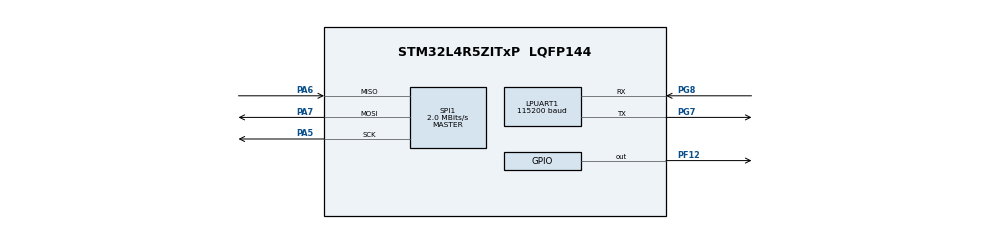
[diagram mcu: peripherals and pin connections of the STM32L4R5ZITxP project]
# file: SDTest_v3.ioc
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FATFS._MAX_SS=4096
FATFS._USE_LFN=1
LPUART1.BaudRate=115200
LPUART1.WordLength=UART_WORDLENGTH_8B
Mcu.Family=STM32L4
Mcu.Name=STM32L4R5ZITxP
Mcu.Package=LQFP144
NVIC.PriorityGroup=NVIC_PRIORITYGROUP_4
PA0.Signal=S_TIM2_CH1
PA1.Signal=ADCx_IN6
PA10.Signal=USB_OTG_FS_ID
PA13\ (JTMS/SWDIO).Signal=SYS_JTMS-SWDIO
PA14\ (JTCK/SWCLK).Signal=SYS_JTCK-SWCLK
PA3.Signal=ADCx_IN8
PA4.Signal=SPI1_NSS
PA5.GPIO_PuPd=GPIO_PULLUP
PA5.Mode=Full_Duplex_Master
PA5.Signal=SPI1_SCK
PA6.GPIO_PuPd=GPIO_PULLUP
PA6.Mode=Full_Duplex_Master
PA6.Signal=SPI1_MISO
PA7.GPIO_PuPd=GPIO_PULLUP
PA7.Mode=Full_Duplex_Master
PA7.Signal=SPI1_MOSI
PA8.Signal=USB_OTG_FS_SOF
PA9.Signal=USB_OTG_FS_VBUS
PB0.Signal=S_TIM3_CH3
PB1.Signal=ADCx_IN16
PB10.Signal=S_TIM2_CH3
PB12.Signal=SAI2_FS_A
PB13.Signal=SAI2_SCK_A
PB14.Signal=S_TIM15_CH1
PB15.Signal=SAI2_SD_A
PB2.Signal=COMP1_INP
PB3\ (JTDO/TRACESWO).Signal=SPI3_SCK
PB4\ (NJTRST).Signal=SPI3_MISO
PB5.Signal=SPI3_MOSI
PB6.Signal=COMP2_INP
PB8.Signal=I2C1_SCL
PB9.Signal=I2C1_SDA
PC0.Signal=ADCx_IN1
PC1.Signal=ADCx_IN2
PC10.Signal=SDMMC1_D2
PC11.Signal=SDMMC1_D3
PC12.Signal=SDMMC1_CK
PC13.Signal=SYS_WKUP2
PC14-OSC32_IN\ (PC14).Signal=RCC_OSC32_IN
PC15-OSC32_OUT\ (PC15).Signal=RCC_OSC32_OUT
PC2.Signal=ADCx_IN3
PC3.Signal=ADCx_IN4
PC4.Signal=ADCx_IN13
PC5.Signal=ADCx_IN14
PC6.Signal=SAI2_MCLK_A
PC7.Signal=S_TIM3_CH2
PC8.Signal=SDMMC1_D0
PC9.Signal=SDMMC1_D1
PD0.Signal=CAN1_RX
PD14.Signal=S_TIM4_CH3
PD15.Signal=S_TIM4_CH4
PD2.Signal=SDMMC1_CMD
PD3.Signal=USART2_CTS
PD4.Signal=USART2_RTS
PD5.Signal=USART2_TX
PD6.Signal=USART2_RX
PD8.Signal=USART3_TX
PD9.Signal=USART3_RX
PE0.Signal=S_TIM4_ETR
PE10.Signal=TIM1_CH2N
PE11.Signal=S_TIM1_CH2
PE12.Signal=TIM1_CH3N
PE13.Signal=S_TIM1_CH3
PE14.Signal=TIM1_BKIN2
PE15.Signal=TIM1_BKIN
PE2.Signal=SAI1_MCLK_A
PE3.Signal=SAI1_SD_B
PE7.Signal=S_TIM1_ETR
PE8.Signal=TIM1_CH1N
PE9.Signal=S_TIM1_CH1
PF0.Signal=I2C2_SDA
PF1.Signal=I2C2_SCL
PF12.GPIO_Speed=GPIO_SPEED_FREQ_MEDIUM
PF12.PinState=GPIO_PIN_SET
PF12.Signal=GPIO_Output
PF2.Signal=I2C2_SMBA
PF7.Signal=SAI1_MCLK_B
PG7.Mode=Asynchronous
PG7.Signal=LPUART1_TX
PG8.Mode=Asynchronous
PG8.Signal=LPUART1_RX
PH0-OSC_IN\ (PH0).Signal=RCC_OSC_IN
PH1-OSC_OUT\ (PH1).Signal=RCC_OSC_OUT
ProjectManager.HeapSize=0x200
ProjectManager.StackSize=0x400
ProjectManager.TargetToolchain=STM32CubeIDE
RCC.HSE_VALUE=8000000
RCC.HSI48_VALUE=48000000
RCC.HSI_VALUE=16000000
RCC.LSE_VALUE=32768
RCC.MSI_VALUE=4000000
RCC.VCOOutputFreq_Value=32000000
SH.ADCx_IN1.0=ADC1_IN1
SH.ADCx_IN13.0=ADC1_IN13
SH.ADCx_IN14.0=ADC1_IN14
SH.ADCx_IN16.0=ADC1_IN16
SH.ADCx_IN2.0=ADC1_IN2
SH.ADCx_IN3.0=ADC1_IN3
SH.ADCx_IN4.0=ADC1_IN4
SH.ADCx_IN6.0=ADC1_IN6
SH.ADCx_IN8.0=ADC1_IN8
SH.S_TIM15_CH1.0=TIM15_CH1
SH.S_TIM1_CH1.0=TIM1_CH1
SH.S_TIM1_CH2.0=TIM1_CH2
SH.S_TIM1_CH3.0=TIM1_CH3
SH.S_TIM1_ETR.0=TIM1_ETR
SH.S_TIM2_CH1.0=TIM2_CH1
SH.S_TIM2_CH3.0=TIM2_CH3
SH.S_TIM3_CH2.0=TIM3_CH2
SH.S_TIM3_CH3.0=TIM3_CH3
SH.S_TIM4_CH3.0=TIM4_CH3
SH.S_TIM4_CH4.0=TIM4_CH4
SH.S_TIM4_ETR.0=TIM4_ETR
SPI1.BaudRatePrescaler=SPI_BAUDRATEPRESCALER_2
SPI1.CalculateBaudRate=2.0 MBits/s
SPI1.DataSize=SPI_DATASIZE_8BIT
SPI1.Direction=SPI_DIRECTION_2LINES
SPI1.Mode=SPI_MODE_MASTER
SPI1.VirtualType=VM_MASTER
VP_FATFS_VS_Generic.Mode=User_defined
board=NUCLEO-L4R5ZI-P

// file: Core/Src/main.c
/* USER CODE BEGIN Header */
/**
  ******************************************************************************
  * @file           : main.c
  * @brief          : Main program body
  ******************************************************************************
  * @attention
  *
  * Copyright (c) 2023 STMicroelectronics.
  * All rights reserved.
  *
  * This software is licensed under terms that can be found in the LICENSE file
  * in the root directory of this software component.
  * If no LICENSE file comes with this software, it is provided AS-IS.
  *
  ******************************************************************************
  */
/* USER CODE END Header */
#include "main.h"
#include "fatfs.h"

/* USER CODE BEGIN Includes */
#include "fatfs_sd.h"
#include "string.h"
#include "stdio.h"
/* USER CODE END Includes */

/* USER CODE BEGIN PD */
SPI_HandleTypeDef hspi1;
FATFS fs;
FATFS *pfs;
FIL fil;
FRESULT fres;
DWORD fre_clust;
uint32_t totalSpace, freeSpace;
char buffer[100];
/* USER CODE END PD */

UART_HandleTypeDef hlpuart1;

SPI_HandleTypeDef hspi1;

void SystemClock_Config(void);
static void MX_GPIO_Init(void);
static void MX_LPUART1_UART_Init(void);
static void MX_SPI1_Init(void);

int main(void) //WORKING!!!!!
{

  /* MCU Configuration--------------------------------------------------------*/

  /* Reset of all peripherals, Initializes the Flash interface and the Systick. */
  HAL_Init();

  /* Configure the system clock */
  SystemClock_Config();

  /* Initialize all configured peripherals */
  MX_GPIO_Init();
  MX_LPUART1_UART_Init();
  MX_SPI1_Init();
  MX_FATFS_Init();
	/* USER CODE BEGIN 2 */
	/* Waiting for the Micro SD module to initialize */
	HAL_Delay(500);

	fres = f_mount(&fs, "", 1);
	if (fres == FR_OK) {
		printf("Micro SD card is mounted successfully!\n");
	} else if (fres != FR_OK) {
		printf("Micro SD card's mount error!\n");
	}

	// FA_OPEN_APPEND opens file if it exists and if not then creates it,
	// the pointer is set at the end of the file for appending
	fres = f_open(&fil, "log-file.txt", FA_OPEN_APPEND | FA_WRITE | FA_READ);
	if (fres == FR_OK) {
		printf("File opened for reading and checking the free space.\n");
	} else if (fres != FR_OK) {
		printf(
				"File was not opened for reading and checking the free space!\n");
	}

	fres = f_getfree("", &fre_clust, &pfs);
	totalSpace = (uint32_t) ((pfs->n_fatent - 2) * pfs->csize * 0.5);
	freeSpace = (uint32_t) (fre_clust * pfs->csize * 0.5);
	char mSz[12];
	sprintf(mSz, "%lu", freeSpace);
	if (fres == FR_OK) {
		printf("The free space is: ");
		printf(mSz);
		printf("\n");
	} else if (fres != FR_OK) {
		printf("The free space could not be determined!\n");
	}
	printf("writing to file\n");
	for (uint8_t i = 0; i < 10; i++) {
		f_puts("This text is written in the file.\n", &fil);
	}

	fres = f_close(&fil);
	if (fres == FR_OK) {
		printf("The file is closed.\n");
	} else if (fres != FR_OK) {
		printf("The file was not closed.\n");
	}

	/* Open file to read */
	fres = f_open(&fil, "log-file.txt", FA_READ);
	if (fres == FR_OK) {
		printf("File opened for reading.\n");
	} else if (fres != FR_OK) {
		printf("File was not opened for reading!\n");
	}

	while (f_gets(buffer, sizeof(buffer), &fil)) {
		char mRd[100];
		sprintf(mRd, "%s", buffer);
		printf(mRd);

	}

	/* Close file */
	fres = f_close(&fil);
	if (fres == FR_OK) {
		printf("The file is closed.\n");
	} else if (fres != FR_OK) {
		printf("The file was not closed.\n");
	}
	/*
	 f_mount(NULL, "", 1);
	 if (fres == FR_OK) {
	 printf("The Micro SD card is unmounted!\n");
	 } else if (fres != FR_OK) {
	 printf("The Micro SD was not unmounted!");
	 }*/
	//begin ben tests

	fres = f_open(&fil, "BEN-file.txt", FA_OPEN_APPEND | FA_WRITE | FA_READ);
	if (fres == FR_OK) {
		printf("File opened for reading and checking the free space.\n");
	} else if (fres != FR_OK) {
		printf(
				"File was not opened for reading and checking the free space!\n");
	}

	printf("writing to file\n");
	for (uint8_t i = 0; i < 10; i++) {
		f_puts("This text is written in the file.\n", &fil);
	}

	f_mount(NULL, "", 1);
	if (fres == FR_OK) {
		printf("The Micro SD card is unmounted!\n");
	} else if (fres != FR_OK) {
		printf("The Micro SD was not unmounted!");
	}

   /* USER CODE END 2 */

  /* Infinite loop */
  while (1)
  {

  }
}

void SystemClock_Config(void)
{
  RCC_OscInitTypeDef RCC_OscInitStruct = {0};
  RCC_ClkInitTypeDef RCC_ClkInitStruct = {0};

  /** Configure the main internal regulator output voltage
  */
  if (HAL_PWREx_ControlVoltageScaling(PWR_REGULATOR_VOLTAGE_SCALE1) != HAL_OK)
  {
    Error_Handler();
  }

  /** Initializes the RCC Oscillators according to the specified parameters
  * in the RCC_OscInitTypeDef structure.
  */
  RCC_OscInitStruct.OscillatorType = RCC_OSCILLATORTYPE_MSI;
  RCC_OscInitStruct.MSIState = RCC_MSI_ON;
  RCC_OscInitStruct.MSICalibrationValue = 0;
  RCC_OscInitStruct.MSIClockRange = RCC_MSIRANGE_6;
  RCC_OscInitStruct.PLL.PLLState = RCC_PLL_NONE;
  if (HAL_RCC_OscConfig(&RCC_OscInitStruct) != HAL_OK)
  {
    Error_Handler();
  }

  /** Initializes the CPU, AHB and APB buses clocks
  */
  RCC_ClkInitStruct.ClockType = RCC_CLOCKTYPE_HCLK|RCC_CLOCKTYPE_SYSCLK
                              |RCC_CLOCKTYPE_PCLK1|RCC_CLOCKTYPE_PCLK2;
  RCC_ClkInitStruct.SYSCLKSource = RCC_SYSCLKSOURCE_MSI;
  RCC_ClkInitStruct.AHBCLKDivider = RCC_SYSCLK_DIV1;
  RCC_ClkInitStruct.APB1CLKDivider = RCC_HCLK_DIV1;
  RCC_ClkInitStruct.APB2CLKDivider = RCC_HCLK_DIV1;

  if (HAL_RCC_ClockConfig(&RCC_ClkInitStruct, FLASH_LATENCY_0) != HAL_OK)
  {
    Error_Handler();
  }
}

static void MX_LPUART1_UART_Init(void)
{

  hlpuart1.Instance = LPUART1;
  hlpuart1.Init.BaudRate = 115200;
  hlpuart1.Init.WordLength = UART_WORDLENGTH_8B;
  hlpuart1.Init.StopBits = UART_STOPBITS_1;
  hlpuart1.Init.Parity = UART_PARITY_NONE;
  hlpuart1.Init.Mode = UART_MODE_TX_RX;
  hlpuart1.Init.HwFlowCtl = UART_HWCONTROL_NONE;
  hlpuart1.Init.OneBitSampling = UART_ONE_BIT_SAMPLE_DISABLE;
  hlpuart1.Init.ClockPrescaler = UART_PRESCALER_DIV1;
  hlpuart1.AdvancedInit.AdvFeatureInit = UART_ADVFEATURE_NO_INIT;
  hlpuart1.FifoMode = UART_FIFOMODE_DISABLE;
  if (HAL_UART_Init(&hlpuart1) != HAL_OK)
  {
    Error_Handler();
  }
  if (HAL_UARTEx_SetTxFifoThreshold(&hlpuart1, UART_TXFIFO_THRESHOLD_1_8) != HAL_OK)
  {
    Error_Handler();
  }
  if (HAL_UARTEx_SetRxFifoThreshold(&hlpuart1, UART_RXFIFO_THRESHOLD_1_8) != HAL_OK)
  {
    Error_Handler();
  }
  if (HAL_UARTEx_DisableFifoMode(&hlpuart1) != HAL_OK)
  {
    Error_Handler();
  }

}

static void MX_SPI1_Init(void)
{

  /* SPI1 parameter configuration*/
  hspi1.Instance = SPI1;
  hspi1.Init.Mode = SPI_MODE_MASTER;
  hspi1.Init.Direction = SPI_DIRECTION_2LINES;
  hspi1.Init.DataSize = SPI_DATASIZE_8BIT;
  hspi1.Init.CLKPolarity = SPI_POLARITY_LOW;
  hspi1.Init.CLKPhase = SPI_PHASE_1EDGE;
  hspi1.Init.NSS = SPI_NSS_SOFT;
  hspi1.Init.BaudRatePrescaler = SPI_BAUDRATEPRESCALER_2;
  hspi1.Init.FirstBit = SPI_FIRSTBIT_MSB;
  hspi1.Init.TIMode = SPI_TIMODE_DISABLE;
  hspi1.Init.CRCCalculation = SPI_CRCCALCULATION_DISABLE;
  hspi1.Init.CRCPolynomial = 7;
  hspi1.Init.CRCLength = SPI_CRC_LENGTH_DATASIZE;
  hspi1.Init.NSSPMode = SPI_NSS_PULSE_ENABLE;
  if (HAL_SPI_Init(&hspi1) != HAL_OK)
  {
    Error_Handler();
  }

}

static void MX_GPIO_Init(void)
{
  GPIO_InitTypeDef GPIO_InitStruct = {0};

  /* GPIO Ports Clock Enable */
  __HAL_RCC_GPIOE_CLK_ENABLE();
  __HAL_RCC_GPIOC_CLK_ENABLE();
  __HAL_RCC_GPIOF_CLK_ENABLE();
  __HAL_RCC_GPIOH_CLK_ENABLE();
  __HAL_RCC_GPIOA_CLK_ENABLE();
  __HAL_RCC_GPIOB_CLK_ENABLE();
  __HAL_RCC_GPIOD_CLK_ENABLE();
  __HAL_RCC_GPIOG_CLK_ENABLE();
  HAL_PWREx_EnableVddIO2();

  /*Configure GPIO pin Output Level */
  HAL_GPIO_WritePin(GPIOF, GPIO_PIN_12, GPIO_PIN_SET);

  /*Configure GPIO pins : PE2 PE3 */
  GPIO_InitStruct.Pin = GPIO_PIN_2|GPIO_PIN_3;
  GPIO_InitStruct.Mode = GPIO_MODE_AF_PP;
  GPIO_InitStruct.Pull = GPIO_NOPULL;
  GPIO_InitStruct.Speed = GPIO_SPEED_FREQ_LOW;
  GPIO_InitStruct.Alternate = GPIO_AF13_SAI1;
  HAL_GPIO_Init(GPIOE, &GPIO_InitStruct);

  /*Configure GPIO pins : PF0 PF1 PF2 */
  GPIO_InitStruct.Pin = GPIO_PIN_0|GPIO_PIN_1|GPIO_PIN_2;
  GPIO_InitStruct.Mode = GPIO_MODE_AF_OD;
  GPIO_InitStruct.Pull = GPIO_NOPULL;
  GPIO_InitStruct.Speed = GPIO_SPEED_FREQ_VERY_HIGH;
  GPIO_InitStruct.Alternate = GPIO_AF4_I2C2;
  HAL_GPIO_Init(GPIOF, &GPIO_InitStruct);

  /*Configure GPIO pin : PF7 */
  GPIO_InitStruct.Pin = GPIO_PIN_7;
  GPIO_InitStruct.Mode = GPIO_MODE_AF_PP;
  GPIO_InitStruct.Pull = GPIO_NOPULL;
  GPIO_InitStruct.Speed = GPIO_SPEED_FREQ_LOW;
  GPIO_InitStruct.Alternate = GPIO_AF13_SAI1;
  HAL_GPIO_Init(GPIOF, &GPIO_InitStruct);

  /*Configure GPIO pins : PC0 PC1 PC2 PC3
                           PC4 PC5 */
  GPIO_InitStruct.Pin = GPIO_PIN_0|GPIO_PIN_1|GPIO_PIN_2|GPIO_PIN_3
                          |GPIO_PIN_4|GPIO_PIN_5;
  GPIO_InitStruct.Mode = GPIO_MODE_ANALOG_ADC_CONTROL;
  GPIO_InitStruct.Pull = GPIO_NOPULL;
  HAL_GPIO_Init(GPIOC, &GPIO_InitStruct);

  /*Configure GPIO pin : PA0 */
  GPIO_InitStruct.Pin = GPIO_PIN_0;
  GPIO_InitStruct.Mode = GPIO_MODE_AF_PP;
  GPIO_InitStruct.Pull = GPIO_NOPULL;
  GPIO_InitStruct.Speed = GPIO_SPEED_FREQ_LOW;
  GPIO_InitStruct.Alternate = GPIO_AF1_TIM2;
  HAL_GPIO_Init(GPIOA, &GPIO_InitStruct);

  /*Configure GPIO pins : PA1 PA3 */
  GPIO_InitStruct.Pin = GPIO_PIN_1|GPIO_PIN_3;
  GPIO_InitStruct.Mode = GPIO_MODE_ANALOG_ADC_CONTROL;
  GPIO_InitStruct.Pull = GPIO_NOPULL;
  HAL_GPIO_Init(GPIOA, &GPIO_InitStruct);

  /*Configure GPIO pin : PB0 */
  GPIO_InitStruct.Pin = GPIO_PIN_0;
  GPIO_InitStruct.Mode = GPIO_MODE_AF_PP;
  GPIO_InitStruct.Pull = GPIO_NOPULL;
  GPIO_InitStruct.Speed = GPIO_SPEED_FREQ_LOW;
  GPIO_InitStruct.Alternate = GPIO_AF2_TIM3;
  HAL_GPIO_Init(GPIOB, &GPIO_InitStruct);

  /*Configure GPIO pin : PB1 */
  GPIO_InitStruct.Pin = GPIO_PIN_1;
  GPIO_InitStruct.Mode = GPIO_MODE_ANALOG_ADC_CONTROL;
  GPIO_InitStruct.Pull = GPIO_NOPULL;
  HAL_GPIO_Init(GPIOB, &GPIO_InitStruct);

  /*Configure GPIO pins : PB2 PB6 */
  GPIO_InitStruct.Pin = GPIO_PIN_2|GPIO_PIN_6;
  GPIO_InitStruct.Mode = GPIO_MODE_ANALOG;
  GPIO_InitStruct.Pull = GPIO_NOPULL;
  HAL_GPIO_Init(GPIOB, &GPIO_InitStruct);

  /*Configure GPIO pin : PF12 */
  GPIO_InitStruct.Pin = GPIO_PIN_12;
  GPIO_InitStruct.Mode = GPIO_MODE_OUTPUT_PP;
  GPIO_InitStruct.Pull = GPIO_NOPULL;
  GPIO_InitStruct.Speed = GPIO_SPEED_FREQ_MEDIUM;
  HAL_GPIO_Init(GPIOF, &GPIO_InitStruct);

  /*Configure GPIO pins : PE7 PE8 PE9 PE10
                           PE11 PE12 PE13 */
  GPIO_InitStruct.Pin = GPIO_PIN_7|GPIO_PIN_8|GPIO_PIN_9|GPIO_PIN_10
                          |GPIO_PIN_11|GPIO_PIN_12|GPIO_PIN_13;
  GPIO_InitStruct.Mode = GPIO_MODE_AF_PP;
  GPIO_InitStruct.Pull = GPIO_NOPULL;
  GPIO_InitStruct.Speed = GPIO_SPEED_FREQ_LOW;
  GPIO_InitStruct.Alternate = GPIO_AF1_TIM1;
  HAL_GPIO_Init(GPIOE, &GPIO_InitStruct);

  /*Configure GPIO pins : PE14 PE15 */
  GPIO_InitStruct.Pin = GPIO_PIN_14|GPIO_PIN_15;
  GPIO_InitStruct.Mode = GPIO_MODE_AF_PP;
  GPIO_InitStruct.Pull = GPIO_NOPULL;
  GPIO_InitStruct.Speed = GPIO_SPEED_FREQ_LOW;
  GPIO_InitStruct.Alternate = GPIO_AF3_TIM1_COMP1;
  HAL_GPIO_Init(GPIOE, &GPIO_InitStruct);

  /*Configure GPIO pin : PB10 */
  GPIO_InitStruct.Pin = GPIO_PIN_10;
  GPIO_InitStruct.Mode = GPIO_MODE_AF_PP;
  GPIO_InitStruct.Pull = GPIO_NOPULL;
  GPIO_InitStruct.Speed = GPIO_SPEED_FREQ_LOW;
  GPIO_InitStruct.Alternate = GPIO_AF1_TIM2;
  HAL_GPIO_Init(GPIOB, &GPIO_InitStruct);

  /*Configure GPIO pins : PB12 PB13 PB15 */
  GPIO_InitStruct.Pin = GPIO_PIN_12|GPIO_PIN_13|GPIO_PIN_15;
  GPIO_InitStruct.Mode = GPIO_MODE_AF_PP;
  GPIO_InitStruct.Pull = GPIO_NOPULL;
  GPIO_InitStruct.Speed = GPIO_SPEED_FREQ_LOW;
  GPIO_InitStruct.Alternate = GPIO_AF13_SAI2;
  HAL_GPIO_Init(GPIOB, &GPIO_InitStruct);

  /*Configure GPIO pin : PB14 */
  GPIO_InitStruct.Pin = GPIO_PIN_14;
  GPIO_InitStruct.Mode = GPIO_MODE_AF_PP;
  GPIO_InitStruct.Pull = GPIO_NOPULL;
  GPIO_InitStruct.Speed = GPIO_SPEED_FREQ_LOW;
  GPIO_InitStruct.Alternate = GPIO_AF14_TIM15;
  HAL_GPIO_Init(GPIOB, &GPIO_InitStruct);

  /*Configure GPIO pins : PD8 PD9 */
  GPIO_InitStruct.Pin = GPIO_PIN_8|GPIO_PIN_9;
  GPIO_InitStruct.Mode = GPIO_MODE_AF_PP;
  GPIO_InitStruct.Pull = GPIO_NOPULL;
  GPIO_InitStruct.Speed = GPIO_SPEED_FREQ_VERY_HIGH;
  GPIO_InitStruct.Alternate = GPIO_AF7_USART3;
  HAL_GPIO_Init(GPIOD, &GPIO_InitStruct);

  /*Configure GPIO pins : PD14 PD15 */
  GPIO_InitStruct.Pin = GPIO_PIN_14|GPIO_PIN_15;
  GPIO_InitStruct.Mode = GPIO_MODE_AF_PP;
  GPIO_InitStruct.Pull = GPIO_NOPULL;
  GPIO_InitStruct.Speed = GPIO_SPEED_FREQ_LOW;
  GPIO_InitStruct.Alternate = GPIO_AF2_TIM4;
  HAL_GPIO_Init(GPIOD, &GPIO_InitStruct);

  /*Configure GPIO pin : PC6 */
  GPIO_InitStruct.Pin = GPIO_PIN_6;
  GPIO_InitStruct.Mode = GPIO_MODE_AF_PP;
  GPIO_InitStruct.Pull = GPIO_NOPULL;
  GPIO_InitStruct.Speed = GPIO_SPEED_FREQ_LOW;
  GPIO_InitStruct.Alternate = GPIO_AF13_SAI2;
  HAL_GPIO_Init(GPIOC, &GPIO_InitStruct);

  /*Configure GPIO pin : PC7 */
  GPIO_InitStruct.Pin = GPIO_PIN_7;
  GPIO_InitStruct.Mode = GPIO_MODE_AF_PP;
  GPIO_InitStruct.Pull = GPIO_NOPULL;
  GPIO_InitStruct.Speed = GPIO_SPEED_FREQ_LOW;
  GPIO_InitStruct.Alternate = GPIO_AF2_TIM3;
  HAL_GPIO_Init(GPIOC, &GPIO_InitStruct);

  /*Configure GPIO pins : PC8 PC9 PC10 PC11
                           PC12 */
  GPIO_InitStruct.Pin = GPIO_PIN_8|GPIO_PIN_9|GPIO_PIN_10|GPIO_PIN_11
                          |GPIO_PIN_12;
  GPIO_InitStruct.Mode = GPIO_MODE_AF_PP;
  GPIO_InitStruct.Pull = GPIO_NOPULL;
  GPIO_InitStruct.Speed = GPIO_SPEED_FREQ_VERY_HIGH;
  GPIO_InitStruct.Alternate = GPIO_AF12_SDMMC1;
  HAL_GPIO_Init(GPIOC, &GPIO_InitStruct);

  /*Configure GPIO pins : PA8 PA10 */
  GPIO_InitStruct.Pin = GPIO_PIN_8|GPIO_PIN_10;
  GPIO_InitStruct.Mode = GPIO_MODE_AF_PP;
  GPIO_InitStruct.Pull = GPIO_NOPULL;
  GPIO_InitStruct.Speed = GPIO_SPEED_FREQ_VERY_HIGH;
  GPIO_InitStruct.Alternate = GPIO_AF10_OTG_FS;
  HAL_GPIO_Init(GPIOA, &GPIO_InitStruct);

  /*Configure GPIO pin : PA9 */
  GPIO_InitStruct.Pin = GPIO_PIN_9;
  GPIO_InitStruct.Mode = GPIO_MODE_INPUT;
  GPIO_InitStruct.Pull = GPIO_NOPULL;
  HAL_GPIO_Init(GPIOA, &GPIO_InitStruct);

  /*Configure GPIO pin : PD0 */
  GPIO_InitStruct.Pin = GPIO_PIN_0;
  GPIO_InitStruct.Mode = GPIO_MODE_AF_PP;
  GPIO_InitStruct.Pull = GPIO_NOPULL;
  GPIO_InitStruct.Speed = GPIO_SPEED_FREQ_VERY_HIGH;
  GPIO_InitStruct.Alternate = GPIO_AF9_CAN1;
  HAL_GPIO_Init(GPIOD, &GPIO_InitStruct);

  /*Configure GPIO pin : PD2 */
  GPIO_InitStruct.Pin = GPIO_PIN_2;
  GPIO_InitStruct.Mode = GPIO_MODE_AF_PP;
  GPIO_InitStruct.Pull = GPIO_NOPULL;
  GPIO_InitStruct.Speed = GPIO_SPEED_FREQ_VERY_HIGH;
  GPIO_InitStruct.Alternate = GPIO_AF12_SDMMC1;
  HAL_GPIO_Init(GPIOD, &GPIO_InitStruct);

  /*Configure GPIO pins : PD3 PD4 PD5 PD6 */
  GPIO_InitStruct.Pin = GPIO_PIN_3|GPIO_PIN_4|GPIO_PIN_5|GPIO_PIN_6;
  GPIO_InitStruct.Mode = GPIO_MODE_AF_PP;
  GPIO_InitStruct.Pull = GPIO_NOPULL;
  GPIO_InitStruct.Speed = GPIO_SPEED_FREQ_VERY_HIGH;
  GPIO_InitStruct.Alternate = GPIO_AF7_USART2;
  HAL_GPIO_Init(GPIOD, &GPIO_InitStruct);

  /*Configure GPIO pins : PB3 PB4 PB5 */
  GPIO_InitStruct.Pin = GPIO_PIN_3|GPIO_PIN_4|GPIO_PIN_5;
  GPIO_InitStruct.Mode = GPIO_MODE_AF_PP;
  GPIO_InitStruct.Pull = GPIO_NOPULL;
  GPIO_InitStruct.Speed = GPIO_SPEED_FREQ_VERY_HIGH;
  GPIO_InitStruct.Alternate = GPIO_AF6_SPI3;
  HAL_GPIO_Init(GPIOB, &GPIO_InitStruct);

  /*Configure GPIO pins : PB8 PB9 */
  GPIO_InitStruct.Pin = GPIO_PIN_8|GPIO_PIN_9;
  GPIO_InitStruct.Mode = GPIO_MODE_AF_OD;
  GPIO_InitStruct.Pull = GPIO_NOPULL;
  GPIO_InitStruct.Speed = GPIO_SPEED_FREQ_VERY_HIGH;
  GPIO_InitStruct.Alternate = GPIO_AF4_I2C1;
  HAL_GPIO_Init(GPIOB, &GPIO_InitStruct);

  /*Configure GPIO pin : PE0 */
  GPIO_InitStruct.Pin = GPIO_PIN_0;
  GPIO_InitStruct.Mode = GPIO_MODE_AF_PP;
  GPIO_InitStruct.Pull = GPIO_NOPULL;
  GPIO_InitStruct.Speed = GPIO_SPEED_FREQ_LOW;
  GPIO_InitStruct.Alternate = GPIO_AF2_TIM4;
  HAL_GPIO_Init(GPIOE, &GPIO_InitStruct);

}

/* USER CODE BEGIN 4 */
#ifdef __GNUC__
#define PUTCHAR_PROTOTYPE int __io_putchar(int ch)
#else
  #define PUTCHAR_PROTOTYPE int fputc(int ch, FILE *f)
#endif /* __GNUC__ */
PUTCHAR_PROTOTYPE
{
  HAL_UART_Transmit(&hlpuart1, (uint8_t *)&ch, 1, 0xFFFF);
  return ch;
}

/* USER CODE END 4 */

void Error_Handler(void)
{
  __disable_irq();
  while (1)
  {
  }
}
